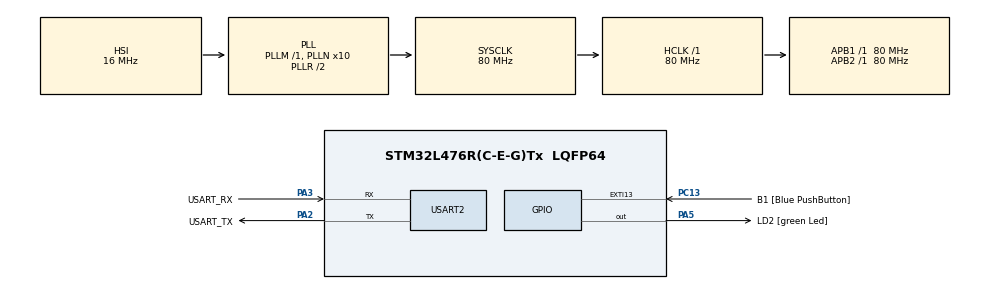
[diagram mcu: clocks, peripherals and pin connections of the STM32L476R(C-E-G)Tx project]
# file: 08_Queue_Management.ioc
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FREERTOS.INCLUDE_vTaskDelayUntil=1
FREERTOS.Tasks01=defaultTask,0,128,StartDefaultTask,Default,NULL,Dynamic,NULL,NULL
Mcu.Family=STM32L4
Mcu.Name=STM32L476R(C-E-G)Tx
Mcu.Package=LQFP64
NVIC.PriorityGroup=NVIC_PRIORITYGROUP_4
NVIC.USART2_IRQn=true\:5\:0\:false\:false\:true\:true\:true\:true\:true
PA13\ (JTMS-SWDIO).GPIO_Label=TMS
PA13\ (JTMS-SWDIO).Mode=Serial_Wire
PA13\ (JTMS-SWDIO).Signal=SYS_JTMS-SWDIO
PA14\ (JTCK-SWCLK).GPIO_Label=TCK
PA14\ (JTCK-SWCLK).Mode=Serial_Wire
PA14\ (JTCK-SWCLK).Signal=SYS_JTCK-SWCLK
PA2.GPIO_Label=USART_TX
PA2.GPIO_Mode=GPIO_MODE_AF_PP
PA2.GPIO_PuPd=GPIO_NOPULL
PA2.GPIO_Speed=GPIO_SPEED_FREQ_VERY_HIGH
PA2.Mode=Asynchronous
PA2.Signal=USART2_TX
PA3.GPIO_Label=USART_RX
PA3.GPIO_Mode=GPIO_MODE_AF_PP
PA3.GPIO_PuPd=GPIO_NOPULL
PA3.GPIO_Speed=GPIO_SPEED_FREQ_VERY_HIGH
PA3.Mode=Asynchronous
PA3.Signal=USART2_RX
PA5.GPIO_Label=LD2 [green Led]
PA5.GPIO_ModeDefaultOutputPP=GPIO_MODE_OUTPUT_PP
PA5.GPIO_PuPd=GPIO_NOPULL
PA5.GPIO_Speed=GPIO_SPEED_FREQ_LOW
PA5.Signal=GPIO_Output
PB3\ (JTDO-TRACESWO).GPIO_Label=SWO
PB3\ (JTDO-TRACESWO).Signal=SYS_JTDO-SWO
PC13.GPIO_Label=B1 [Blue PushButton]
PC13.GPIO_ModeDefaultEXTI=GPIO_MODE_IT_FALLING
PC13.GPIO_PuPd=GPIO_NOPULL
PC13.Signal=GPXTI13
PC14-OSC32_IN\ (PC14).Mode=LSE-External-Oscillator
PC14-OSC32_IN\ (PC14).Signal=RCC_OSC32_IN
PC15-OSC32_OUT\ (PC15).Mode=LSE-External-Oscillator
PC15-OSC32_OUT\ (PC15).Signal=RCC_OSC32_OUT
PH0-OSC_IN\ (PH0).Signal=RCC_OSC_IN
PH1-OSC_OUT\ (PH1).Signal=RCC_OSC_OUT
ProjectManager.HeapSize=0x200
ProjectManager.StackSize=0x400
ProjectManager.TargetToolchain=STM32CubeIDE
RCC.ADCFreq_Value=64000000
RCC.AHBFreq_Value=80000000
RCC.APB1Freq_Value=80000000
RCC.APB1TimFreq_Value=80000000
RCC.APB2Freq_Value=80000000
RCC.APB2TimFreq_Value=80000000
RCC.CortexFreq_Value=80000000
RCC.HCLKFreq_Value=80000000
RCC.HSE_VALUE=8000000
RCC.HSI_VALUE=16000000
RCC.MSI_VALUE=4000000
RCC.PLLN=10
RCC.PLLSourceVirtual=RCC_PLLSOURCE_HSI
RCC.PREFETCH_ENABLE=1
RCC.SYSCLKFreq_VALUE=80000000
RCC.SYSCLKSource=RCC_SYSCLKSOURCE_PLLCLK
RCC.USBFreq_Value=64000000
RCC.VCOOutputFreq_Value=160000000
USART2.VirtualMode-Asynchronous=VM_ASYNC
VP_FREERTOS_VS_CMSIS_V1.Mode=CMSIS_V1
board=NUCLEO-L476RG

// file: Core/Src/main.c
/* USER CODE BEGIN Header */
/**
  ******************************************************************************
  * @file           : main.c
  * @brief          : Main program body
  ******************************************************************************
  * @attention
  *
  * Copyright (c) 2025 STMicroelectronics.
  * All rights reserved.
  *
  * This software is licensed under terms that can be found in the LICENSE file
  * in the root directory of this software component.
  * If no LICENSE file comes with this software, it is provided AS-IS.
  *
  ******************************************************************************
  */
/* USER CODE END Header */
#include "main.h"
#include "cmsis_os.h"

/* USER CODE BEGIN Includes */
#include<stdio.h>
#include<stdarg.h>
/* USER CODE END Includes */

UART_HandleTypeDef huart2;

osThreadId defaultTaskHandle;

void SystemClock_Config(void);
static void MX_GPIO_Init(void);
static void MX_USART2_UART_Init(void);
void StartDefaultTask(void const * argument);

/* USER CODE BEGIN PFP */
void vTask1_menu_display(void *params);
void vTask2_cmd_handling(void *params);
void vTask3_cmd_processing(void *params);
void vTask4_uart_write(void *params);
void debug_printf(const char *fmt, ...)
{
	char buffer[256];
	va_list args;
	va_start(args, fmt);
	vsnprintf(buffer, sizeof(buffer), fmt, args);
	va_end(args);
	uint16_t i = 0;
	while(buffer[i] != '\0')
	{
		ITM_SendChar(buffer[i]);
		i++;
	}
}

char menu[]="\r\n LEd_ON  --->1\r\nLEd_OFF  --->2\r\nLED_TOGGLE--->3\r\nLED_TOGGLE_OFF--->4\r\nLED_READ_STATUS--->5\r\nRTC_PRINT_DATETIME---->6\r\nEXITAPP--->0\r\nType your option :";

/* USER CODE END PFP */

/* USER CODE BEGIN 0 */
char usr_msg[250]={0};
TaskHandle_t xTaskHandler1=NULL;
TaskHandle_t xTaskHandler2=NULL;
TaskHandle_t xTaskHandler3=NULL;
TaskHandle_t xTaskHandler4=NULL;

QueueHandle_t command_Queue=NULL,uart_write_queue=NULL;

typedef struct APP_CMD
{
	uint8_t COMMAND_NUM;
	uint8_t COMMAND_ARGS[10];
}APP_CMD_t;

uint8_t rx_data;
uint8_t command_buffer[20];
uint8_t command_len=0;

/* USER CODE END 0 */

int main(void)
{

  /* MCU Configuration--------------------------------------------------------*/

  /* Reset of all peripherals, Initializes the Flash interface and the Systick. */
  HAL_Init();

  /* Configure the system clock */
  SystemClock_Config();

  /* Initialize all configured peripherals */
  MX_GPIO_Init();
  MX_USART2_UART_Init();

  /* Create the thread(s) */
  /* definition and creation of defaultTask */
  osThreadDef(defaultTask, StartDefaultTask, osPriorityNormal, 0, 128);
  defaultTaskHandle = osThreadCreate(osThread(defaultTask), NULL);

  /* USER CODE BEGIN RTOS_THREADS */
  /* add threads, ... */
  debug_printf("This Queue command processing Demo\r\n");

  //command queue
  command_Queue=xQueueCreate(10,sizeof(APP_CMD_t*));

  //write queue
  uart_write_queue=xQueueCreate(10,sizeof(char*));

  HAL_UART_Receive_IT(&huart2, &rx_data, 1);

  if((command_Queue!=NULL)&&(uart_write_queue!=NULL))
  {
	  xTaskCreate(vTask1_menu_display,"vTask1_menu_display",200,NULL,1,&xTaskHandler1);
	  xTaskCreate(vTask2_cmd_handling,"vTask2_cmd_handling",200,NULL,1,&xTaskHandler2);
	  xTaskCreate(vTask3_cmd_processing,"vTask3_cmd_processing",200,NULL,1,&xTaskHandler3);
	  xTaskCreate(vTask4_uart_write,"vTask4_uart_write",200,NULL,1,&xTaskHandler4);

	  vTaskStartScheduler();
  }
  else
  {
	  debug_printf("Queue creation failed\r\n");
  }

  /* USER CODE END RTOS_THREADS */

  /* Start scheduler */
  osKernelStart();

  /* We should never get here as control is now taken by the scheduler */

  /* Infinite loop */
  while (1)
  {

  }
}

void SystemClock_Config(void)
{
  RCC_OscInitTypeDef RCC_OscInitStruct = {0};
  RCC_ClkInitTypeDef RCC_ClkInitStruct = {0};

  /** Configure the main internal regulator output voltage
  */
  if (HAL_PWREx_ControlVoltageScaling(PWR_REGULATOR_VOLTAGE_SCALE1) != HAL_OK)
  {
    Error_Handler();
  }

  /** Initializes the RCC Oscillators according to the specified parameters
  * in the RCC_OscInitTypeDef structure.
  */
  RCC_OscInitStruct.OscillatorType = RCC_OSCILLATORTYPE_HSI;
  RCC_OscInitStruct.HSIState = RCC_HSI_ON;
  RCC_OscInitStruct.HSICalibrationValue = RCC_HSICALIBRATION_DEFAULT;
  RCC_OscInitStruct.PLL.PLLState = RCC_PLL_ON;
  RCC_OscInitStruct.PLL.PLLSource = RCC_PLLSOURCE_HSI;
  RCC_OscInitStruct.PLL.PLLM = 1;
  RCC_OscInitStruct.PLL.PLLN = 10;
  RCC_OscInitStruct.PLL.PLLP = RCC_PLLP_DIV7;
  RCC_OscInitStruct.PLL.PLLQ = RCC_PLLQ_DIV2;
  RCC_OscInitStruct.PLL.PLLR = RCC_PLLR_DIV2;
  if (HAL_RCC_OscConfig(&RCC_OscInitStruct) != HAL_OK)
  {
    Error_Handler();
  }

  /** Initializes the CPU, AHB and APB buses clocks
  */
  RCC_ClkInitStruct.ClockType = RCC_CLOCKTYPE_HCLK|RCC_CLOCKTYPE_SYSCLK
                              |RCC_CLOCKTYPE_PCLK1|RCC_CLOCKTYPE_PCLK2;
  RCC_ClkInitStruct.SYSCLKSource = RCC_SYSCLKSOURCE_PLLCLK;
  RCC_ClkInitStruct.AHBCLKDivider = RCC_SYSCLK_DIV1;
  RCC_ClkInitStruct.APB1CLKDivider = RCC_HCLK_DIV1;
  RCC_ClkInitStruct.APB2CLKDivider = RCC_HCLK_DIV1;

  if (HAL_RCC_ClockConfig(&RCC_ClkInitStruct, FLASH_LATENCY_4) != HAL_OK)
  {
    Error_Handler();
  }
}

static void MX_USART2_UART_Init(void)
{

  huart2.Instance = USART2;
  huart2.Init.BaudRate = 115200;
  huart2.Init.WordLength = UART_WORDLENGTH_8B;
  huart2.Init.StopBits = UART_STOPBITS_1;
  huart2.Init.Parity = UART_PARITY_NONE;
  huart2.Init.Mode = UART_MODE_TX_RX;
  huart2.Init.HwFlowCtl = UART_HWCONTROL_NONE;
  huart2.Init.OverSampling = UART_OVERSAMPLING_16;
  huart2.Init.OneBitSampling = UART_ONE_BIT_SAMPLE_DISABLE;
  huart2.AdvancedInit.AdvFeatureInit = UART_ADVFEATURE_NO_INIT;
  if (HAL_UART_Init(&huart2) != HAL_OK)
  {
    Error_Handler();
  }

}

static void MX_GPIO_Init(void)
{
  GPIO_InitTypeDef GPIO_InitStruct = {0};

  /* GPIO Ports Clock Enable */
  __HAL_RCC_GPIOC_CLK_ENABLE();
  __HAL_RCC_GPIOH_CLK_ENABLE();
  __HAL_RCC_GPIOA_CLK_ENABLE();
  __HAL_RCC_GPIOB_CLK_ENABLE();

  /*Configure GPIO pin Output Level */
  HAL_GPIO_WritePin(LD2_GPIO_Port, LD2_Pin, GPIO_PIN_RESET);

  /*Configure GPIO pin : B1_Pin */
  GPIO_InitStruct.Pin = B1_Pin;
  GPIO_InitStruct.Mode = GPIO_MODE_IT_FALLING;
  GPIO_InitStruct.Pull = GPIO_NOPULL;
  HAL_GPIO_Init(B1_GPIO_Port, &GPIO_InitStruct);

  /*Configure GPIO pin : LD2_Pin */
  GPIO_InitStruct.Pin = LD2_Pin;
  GPIO_InitStruct.Mode = GPIO_MODE_OUTPUT_PP;
  GPIO_InitStruct.Pull = GPIO_NOPULL;
  GPIO_InitStruct.Speed = GPIO_SPEED_FREQ_LOW;
  HAL_GPIO_Init(LD2_GPIO_Port, &GPIO_InitStruct);

}

/* USER CODE BEGIN 4 */
void vTask1_menu_display(void *params)
{
	char *pData=menu;
	while(1)
	{
		xQueueSend(uart_write_queue,&pData,portMAX_DELAY);

		xTaskNotifyWait(0, 0, NULL, portMAX_DELAY);
	}
}
void vTask2_cmd_handling(void *params)
{

	char rcv_buf[20];
	char *pData = rcv_buf;
	while(1)
	{

	}
}
void vTask3_cmd_processing(void *params)
{
	while(1)
	{

	}
}
void vTask4_uart_write(void *params)
{
	char *pData = NULL;
	while(1)
	{
		xQueueReceive(uart_write_queue, &pData, portMAX_DELAY);
		debug_printf(pData);
	}
}
void HAL_UART_RxCpltCallback(UART_HandleTypeDef *huart)
{
    if (huart->Instance == USART2)   // check if USART2 triggered it
    {
        // store received byte into buffer
        command_buffer[command_len++] = rx_data;

        if(rx_data == '\r')
        {
        	xTaskNotify(xTaskHandler2,0,eNoAction);
        }
        // optional: prevent overflow
        if (command_len >= sizeof(command_buffer))
            command_len = 0;

        // re-enable interrupt for next byte
        HAL_UART_Receive_IT(&huart2, &rx_data, 1);
    }
}
/* USER CODE END 4 */

void StartDefaultTask(void const * argument)
{
  for(;;)
  {
    osDelay(1);
  }
}

void Error_Handler(void)
{
  __disable_irq();
  while (1)
  {
  }
}
